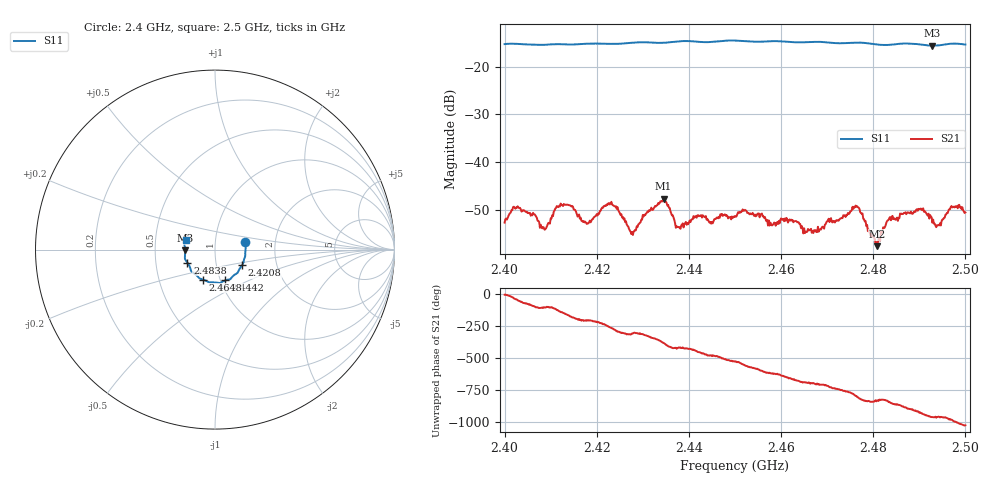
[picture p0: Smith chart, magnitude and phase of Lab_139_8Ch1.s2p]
# Hz S RI R 50
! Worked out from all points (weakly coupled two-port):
!   601 points, 2.4 GHz to 2.5 GHz, reference 50 ohm
!   highest |S21| = -47.73 dB at 2.4345 GHz (marker M1); lowest = -57.7 dB at 2.4808 GHz (marker M2)
!   lowest |S11| = -15.6 dB at 2.4928 GHz (marker M3), VSWR 1.40, Z = 35.8 - j0.338 ohm
!   |S11| at or under -10 dB: start of sweep to end of sweep
!   S12 and S22 are empty: the file has one direction only
!   S11 on the Smith chart (normalised r, x): 2.4 GHz: 1.40, +0.12; 2.4208 GHz: 1.33, -0.24; 2.4442 GHz: 1.05, -0.37; 2.4648 GHz: 0.83, -0.29; 2.4838 GHz: 0.73, -0.11; 2.5 GHz: 0.72, +0.08
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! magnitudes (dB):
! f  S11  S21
! 2.4 GHz  -15.3  -52.7
! 2.403 GHz  -15.2  -49.5
! 2.4087 GHz  -15.4  -54.2
! 2.4133 GHz  -15.3  -49.0
! 2.4167 GHz  -15.2  -52.3
! 2.4208 GHz  -15.2  -50.2
! 2.4237 GHz  -15.2  -49.2
! 2.4277 GHz  -15.0  -54.7
! 2.4333 GHz  -15.0  -48.6
! 2.4345 GHz  -15.0  -47.7
! 2.4377 GHz  -14.7  -53.6
! 2.4442 GHz  -14.9  -52.2
! 2.45 GHz  -14.5  -51.4
! 2.4648 GHz  -14.9  -55.0
! 2.4667 GHz  -14.8  -54.9
! 2.4763 GHz  -15.0  -49.4
! 2.4808 GHz  -15.4  -57.7
! 2.4833 GHz  -15.4  -52.1
! 2.4838 GHz  -15.4  -52.2
! 2.4903 GHz  -15.4  -49.8
! 2.4928 GHz  -15.6  -52.8
! 2.5 GHz  -15.4  -50.6
